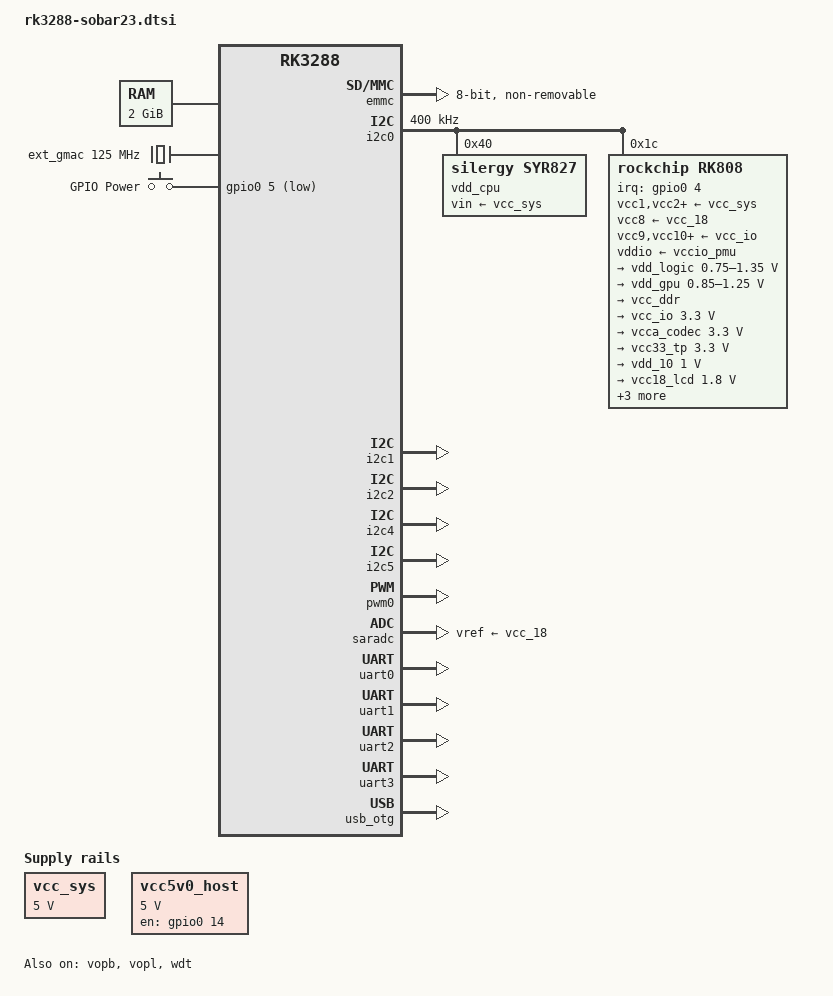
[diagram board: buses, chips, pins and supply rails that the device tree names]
// SPDX-License-Identifier: GPL-2.0+ OR X11
/*
 * (C) Copyright 2016 Rockchip Electronics Co., Ltd
 */

#include "rk3288.dtsi"

/ {
	memory {
		reg = <0 0x80000000>;
	};

	ext_gmac: external-gmac-clock {
		compatible = "fixed-clock";
		#clock-cells = <0>;
		clock-frequency = <125000000>;
		clock-output-names = "ext_gmac";
	};

	keys: gpio-keys {
		compatible = "gpio-keys";

		button@0 {
			gpio-key,wakeup = <1>;
			gpios = <&gpio0 5 GPIO_ACTIVE_LOW>;
			label = "GPIO Power";
			linux,code = <116>;
			pinctrl-names = "default";
			pinctrl-0 = <&pwr_key>;
		};
	};

	vcc_sys: vsys-regulator {
		compatible = "regulator-fixed";
		regulator-name = "vcc_sys";
		regulator-min-microvolt = <5000000>;
		regulator-max-microvolt = <5000000>;
		regulator-always-on;
		regulator-boot-on;
	};

	vcc5v0_host: usb-host-regulator {
		compatible = "regulator-fixed";
		enable-active-high;
		gpio = <&gpio0 14 GPIO_ACTIVE_HIGH>;
		pinctrl-names = "default";
		pinctrl-0 = <&host_vbus_drv>;
		regulator-name = "vcc5v0_host";
		regulator-min-microvolt = <5000000>;
		regulator-max-microvolt = <5000000>;
		regulator-always-on;
	};
};

&cpu0 {
	cpu0-supply = <&vdd_cpu>;
};

&emmc {
	broken-cd;
	bus-width = <8>;
	cap-mmc-highspeed;
	disable-wp;
	non-removable;
	num-slots = <1>;
	pinctrl-names = "default";
	pinctrl-0 = <&emmc_clk>, <&emmc_cmd>, <&emmc_pwr>, <&emmc_bus8>;
	status = "okay";
};

&dmc {
	center-supply = <&vdd_logic>;
};

&gmac {
	status = "disabled";
};

&hdmi {
	ddc-i2c-bus = <&i2c5>;
	status = "disabled";
};

&i2c0 {
	clock-frequency = <400000>;
	status = "okay";

	vdd_cpu: syr827@40 {
		compatible = "silergy,syr827";
		fcs,suspend-voltage-selector = <1>;
		reg = <0x40>;
		regulator-name = "vdd_cpu";
		regulator-min-microvolt = <850000>;
		regulator-max-microvolt = <1350000>;
		regulator-always-on;
		regulator-boot-on;
		vin-supply = <&vcc_sys>;
	};


	rk808: pmic@1c {
		compatible = "rockchip,rk808";
		reg = <0x1c>;
		interrupt-parent = <&gpio0>;
		interrupts = <4 IRQ_TYPE_LEVEL_LOW>;
		pinctrl-names = "default";
		pinctrl-0 = <&pmic_int &global_pwroff>;
		rockchip,system-power-controller;
		wakeup-source;
		#clock-cells = <1>;
		clock-output-names = "xin32k", "rk808-clkout2";

		vcc1-supply = <&vcc_sys>;
		vcc2-supply = <&vcc_sys>;
		vcc3-supply = <&vcc_sys>;
		vcc4-supply = <&vcc_sys>;
		vcc6-supply = <&vcc_sys>;
		vcc7-supply = <&vcc_sys>;
		vcc8-supply = <&vcc_18>;
		vcc9-supply = <&vcc_io>;
		vcc10-supply = <&vcc_io>;
		vcc11-supply = <&vcc_sys>;
		vcc12-supply = <&vcc_io>;
		vddio-supply = <&vccio_pmu>;

		regulators {
			vdd_logic: DCDC_REG1 {
				regulator-always-on;
				regulator-boot-on;
				regulator-min-microvolt = <750000>;
				regulator-max-microvolt = <1350000>;
				regulator-name = "vdd_logic";
				regulator-state-mem {
					regulator-off-in-suspend;
				};
			};

			vdd_gpu: DCDC_REG2 {
				regulator-always-on;
				regulator-boot-on;
				regulator-min-microvolt = <850000>;
				regulator-max-microvolt = <1250000>;
				regulator-name = "vdd_gpu";
				regulator-state-mem {
					regulator-on-in-suspend;
					regulator-suspend-microvolt = <1000000>;
				};
			};

			vcc_ddr: DCDC_REG3 {
				regulator-always-on;
				regulator-boot-on;
				regulator-name = "vcc_ddr";
				regulator-state-mem {
					regulator-on-in-suspend;
				};
			};

			vcc_io: DCDC_REG4 {
				regulator-always-on;
				regulator-boot-on;
				regulator-min-microvolt = <3300000>;
				regulator-max-microvolt = <3300000>;
				regulator-name = "vcc_io";
				regulator-state-mem {
					regulator-on-in-suspend;
					regulator-suspend-microvolt = <3300000>;
				};
			};

			vcca_codec: LDO_REG1 {
				regulator-always-on;
				regulator-boot-on;
				regulator-min-microvolt = <3300000>;
				regulator-max-microvolt = <3300000>;
				regulator-name = "vcca_codec";
				regulator-state-mem {
					regulator-off-in-suspend;
				};
			};

			vcc33_tp: LDO_REG2 {
				regulator-always-on;
				regulator-boot-on;
				regulator-min-microvolt = <3300000>;
				regulator-max-microvolt = <3300000>;
				regulator-name = "vcc33_tp";
				regulator-state-mem {
					regulator-off-in-suspend;
				};
			};

			vdd_10: LDO_REG3 {
				regulator-always-on;
				regulator-boot-on;
				regulator-min-microvolt = <1000000>;
				regulator-max-microvolt = <1000000>;
				regulator-name = "vdd_10";
				regulator-state-mem {
					regulator-on-in-suspend;
					regulator-suspend-microvolt = <1000000>;
				};
			};

			vcc18_lcd: LDO_REG4 {
				regulator-always-on;
				regulator-boot-on;
				regulator-min-microvolt = <1800000>;
				regulator-max-microvolt = <1800000>;
				regulator-name = "vcc18_lcd";
				regulator-state-mem {
					regulator-off-in-suspend;
				};
			};

			vccio_pmu: LDO_REG5 {
				regulator-always-on;
				regulator-boot-on;
				regulator-min-microvolt = <3300000>;
				regulator-max-microvolt = <3300000>;
				regulator-name = "vccio_pmu";
				regulator-state-mem {
					regulator-on-in-suspend;
					regulator-suspend-microvolt = <3300000>;
				};
			};

			vdd10_lcd: LDO_REG6 {
				regulator-always-on;
				regulator-boot-on;
				regulator-min-microvolt = <1000000>;
				regulator-max-microvolt = <1000000>;
				regulator-name = "vdd10_lcd";
				regulator-state-mem {
					regulator-off-in-suspend;
				};
			};

			vcc_18: LDO_REG7 {
				regulator-always-on;
				regulator-boot-on;
				regulator-min-microvolt = <1800000>;
				regulator-max-microvolt = <1800000>;
				regulator-name = "vcc_18";
				regulator-state-mem {
					regulator-on-in-suspend;
					regulator-suspend-microvolt = <1800000>;
				};
			};

			vccio_wl: LDO_REG8 {
				regulator-always-on;
				regulator-boot-on;
				regulator-min-microvolt = <3300000>;
				regulator-max-microvolt = <3300000>;
				regulator-name = "vccio_wl";
				regulator-state-mem {
					regulator-on-in-suspend;
					regulator-suspend-microvolt = <3300000>;
				};
			};

			vcc33_sd: SWITCH_REG1 {
				regulator-always-on;
				regulator-boot-on;
				regulator-name = "vcc33_sd";
				regulator-state-mem {
					regulator-on-in-suspend;
				};
			};

			vcc33_lan: SWITCH_REG2 {
				regulator-always-on;
				regulator-boot-on;
				regulator-name = "vcc33_lan";
				regulator-state-mem {
					regulator-on-in-suspend;
				};
			};
		};
	};
};

&i2c1 {
	status = "okay";
};

&i2c2 {
	status = "okay";
};

&i2c4 {
	status = "okay";
};

&i2c5 {
	status = "okay";
};

&pinctrl {
	pcfg_output_high: pcfg-output-high {
		output-high;
	};

	pcfg_output_low: pcfg-output-low {
		output-low;
	};

	keys {
		pwr_key: pwr-key {
			rockchip,pins = <0 5 RK_FUNC_GPIO &pcfg_pull_up>;
		};
	};

	sdmmc {
		sdmmc_pwr: sdmmc-pwr {
			rockchip,pins = <7 11 RK_FUNC_GPIO &pcfg_pull_none>;
		};
	};

	pmic {
		pmic_int: pmic-int {
			rockchip,pins = <RK_GPIO0 4 RK_FUNC_GPIO &pcfg_pull_up>;
		};
	};

	usb_host {
		host_vbus_drv: host-vbus-drv {
			rockchip,pins = <0 14 RK_FUNC_GPIO &pcfg_pull_none>;
		};
	};

	usb_otg {
		otg_vbus_drv: otg-vbus-drv {
			rockchip,pins = <0 12 RK_FUNC_GPIO &pcfg_pull_none>;
		};
	};
};

&pwm0 {
	status = "okay";
};

&saradc {
	vref-supply = <&vcc_18>;
	status = "okay";
};

&emmc {
	broken-cd;
	bus-width = <8>;
	cap-mmc-highspeed;
	disable-wp;
	non-removable;
	num-slots = <1>;
	pinctrl-names = "default";
	pinctrl-0 = <&emmc_clk>, <&emmc_cmd>, <&emmc_pwr>, <&emmc_bus8>;
	status = "okay";
};

&sdmmc {
	status = "disabled";
};

&spi0 {
	status = "disabled";
};

&uart0 {
	pinctrl-names = "default";
	pinctrl-0 = <&uart0_xfer>, <&uart0_cts>, <&uart0_rts>;
	status = "okay";
};

&uart1 {
	status = "okay";
};

&uart2 {
	status = "okay";
};

&uart3 {
	status = "okay";
};

&usb_host1 {
	status = "disabled";
};

&usb_otg {
	status = "okay";
};

&vopb {
	status = "okay";
};

&vopb_mmu {
	status = "okay";
};

&vopl {
	status = "okay";
};

&vopl_mmu {
	status = "okay";
};

&wdt {
	status = "okay";
};
